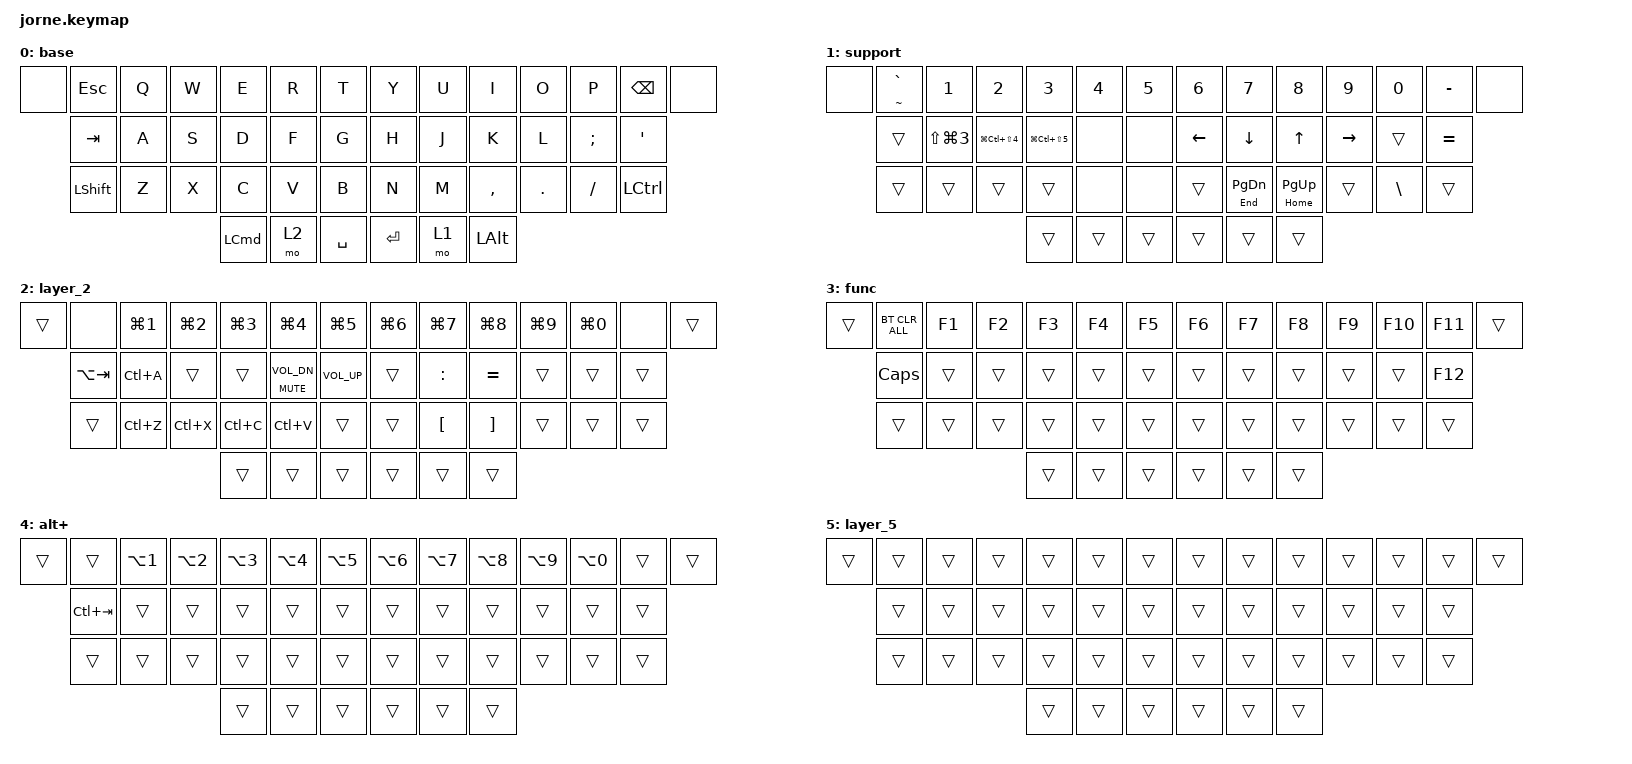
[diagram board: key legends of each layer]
/*
 * Copyright (c) 2020 The ZMK Contributors
 *
 * SPDX-License-Identifier: MIT
 */

#include <behaviors.dtsi>
#include <dt-bindings/zmk/bt.h>
#include <dt-bindings/zmk/keys.h>

/ {
    combos {
        compatible = "zmk,combos";

        layer3 {
            bindings = <&mo 3>;
            key-positions = <39 42>;
            timeout-ms = <200>;
        };
    };

    behaviors {
        hml: hml {
            compatible = "zmk,behavior-hold-tap";
            label = "HML";
            bindings = <&kp>, <&kp>;

            #binding-cells = <2>;
            tapping-term-ms = <220>;
            quick-tap-ms = <175>;
            flavor = "balanced";
            require-prior-idle-ms = <100>;
            hold-trigger-key-positions = <7 8 9 10 11 12 13 20 21 22 23 24 25 32 33 34 35 36 37 38 39 40 41 42 43>;
            hold-trigger-on-release;
        };

        hmr: hmr {
            compatible = "zmk,behavior-hold-tap";
            label = "HMR";
            bindings = <&kp>, <&kp>;

            #binding-cells = <2>;
            tapping-term-ms = <220>;
            quick-tap-ms = <175>;
            require-prior-idle-ms = <100>;
            flavor = "balanced";
            hold-trigger-key-positions = <0 1 2 3 4 5 6 14 15 16 17 18 19 26 27 28 29 30 31 38 39 40 41 42 43>;
            hold-trigger-on-release;
        };

        tkl: tkl {
            compatible = "zmk,behavior-hold-tap";
            label = "TKL";
            bindings = <&mo>, <&kp>;

            #binding-cells = <2>;
            tapping-term-ms = <220>;
            quick-tap-ms = <175>;
            flavor = "balanced";
            require-prior-idle-ms = <100>;
            hold-trigger-key-positions = <7 8 9 10 11 12 13 20 21 22 23 24 25 32 33 34 35 36 37 38 39 40 41 42 43>;
            hold-trigger-on-release;
        };

        tkr: tkr {
            compatible = "zmk,behavior-hold-tap";
            label = "TKR";
            bindings = <&mo>, <&kp>;

            #binding-cells = <2>;
            tapping-term-ms = <220>;
            quick-tap-ms = <175>;
            require-prior-idle-ms = <100>;
            flavor = "balanced";
            hold-trigger-key-positions = <0 1 2 3 4 5 6 14 15 16 17 18 19 26 27 28 29 30 31 38 39 40 41 42 43>;
            hold-trigger-on-release;
        };
    };

    keymap {
        compatible = "zmk,keymap";

        base {
            // Jorne: 44 keys (positions 0 and 13 are extra outer keys, not present physically)
            // -----------------------------------------------------------------------------------------
            // | x |  ESC |  Q  |  W  |  E  |  R  |  T  |   |  Y  |  U   |  I  |  O  |  P  | BKSP | x |
            //     | TAB  |  A  |  S  |  D  |  F  |  G  |   |  H  |  J   |  K  |  L  |  '  |  '   |
            //     | SHFT |  Z  |  X  |  C  |  V  |  B  |   |  N  |  M   |  ,  |  .  |  /  | SHFT |
            //                        | GUI | LWR | SPC |   | ENT | RSE  | ALT |

            bindings = <
&none  &kp ESC         &kp Q  &kp W  &kp E             &kp R  &kp T        &kp Y      &kp U  &kp I         &kp O    &kp P     &kp BACKSPACE     &none
       &kp TAB         &kp A  &kp S  &kp D             &kp F  &kp G        &kp H      &kp J  &kp K         &kp L    &kp SEMI  &kp SINGLE_QUOTE
       &kp LEFT_SHIFT  &kp Z  &kp X  &kp C             &kp V  &kp B        &kp N      &kp M  &kp COMMA     &kp DOT  &kp FSLH  &kp LEFT_CONTROL
                                     &kp LEFT_COMMAND  &mo 2  &kp SPACE    &kp ENTER  &mo 1  &kp LEFT_ALT
            >;
        };

        support {
            bindings = <
&none  &mt TILDE GRAVE  &kp NUMBER_1          &kp NUMBER_2              &kp NUMBER_3        &kp NUMBER_4  &kp N5    &kp NUMBER_6    &kp N7             &kp N8            &kp N9           &kp N0         &kp MINUS  &none
       &trans           &kp LS(LG(NUMBER_3))  &kp LG(LC(LS(NUMBER_4)))  &kp LG(LC(LS(N5)))  &none         &none     &kp LEFT_ARROW  &kp DOWN_ARROW     &kp UP_ARROW      &kp RIGHT_ARROW  &trans         &kp EQUAL
       &trans           &trans                &trans                    &trans              &none         &none     &trans          &mt END PAGE_DOWN  &mt HOME PAGE_UP  &trans           &kp BACKSLASH  &trans
                                                                        &trans              &trans        &trans    &trans          &trans             &trans
            >;
        };

        layer_2 {
            bindings = <
&trans  &none        &kp LG(NUMBER_1)  &kp LG(NUMBER_2)  &kp LG(NUMBER_3)  &kp LG(NUMBER_4)     &kp LG(N5)         &kp LG(NUMBER_6)  &kp LG(N7)        &kp LG(N8)         &kp LG(N9)  &kp LG(N0)  &none   &trans
        &kp LA(TAB)  &kp LC(A)         &trans            &trans            &mt K_MUTE C_VOL_DN  &kp C_VOLUME_UP    &trans            &kp COLON         &kp EQUAL          &trans      &trans      &trans
        &trans       &kp LC(Z)         &kp LC(X)         &kp LC(C)         &kp LC(V)            &trans             &trans            &kp LEFT_BRACKET  &kp RIGHT_BRACKET  &trans      &trans      &trans
                                                         &trans            &trans               &trans             &trans            &trans            &trans
            >;
        };

        func {
            bindings = <
&trans  &bt BT_CLR_ALL  &kp F1  &kp F2  &kp F3  &kp F4  &kp F5    &kp F6  &kp F7  &kp F8  &kp F9  &kp F10  &kp F11  &trans
        &kp CAPS        &trans  &trans  &trans  &trans  &trans    &trans  &trans  &trans  &trans  &trans   &kp F12
        &trans          &trans  &trans  &trans  &trans  &trans    &trans  &trans  &trans  &trans  &trans   &trans
                                        &trans  &trans  &trans    &trans  &trans  &trans
            >;
        };

        alt+ {
            bindings = <
&trans  &trans       &kp LA(NUMBER_1)  &kp LA(NUMBER_2)  &kp LA(NUMBER_3)  &kp LA(NUMBER_4)  &kp LA(N5)    &kp LA(NUMBER_6)  &kp LA(N7)  &kp LA(N8)  &kp LA(N9)  &kp LA(N0)  &trans  &trans
        &kp LC(TAB)  &trans            &trans            &trans            &trans            &trans        &trans            &trans      &trans      &trans      &trans      &trans
        &trans       &trans            &trans            &trans            &trans            &trans        &trans            &trans      &trans      &trans      &trans      &trans
                                                         &trans            &trans            &trans        &trans            &trans      &trans
            >;
        };

        layer_5 {
            bindings = <
&trans  &trans  &trans  &trans  &trans  &trans  &trans    &trans  &trans  &trans  &trans  &trans  &trans  &trans
        &trans  &trans  &trans  &trans  &trans  &trans    &trans  &trans  &trans  &trans  &trans  &trans
        &trans  &trans  &trans  &trans  &trans  &trans    &trans  &trans  &trans  &trans  &trans  &trans
                                &trans  &trans  &trans    &trans  &trans  &trans
            >;
        };
    };
};
